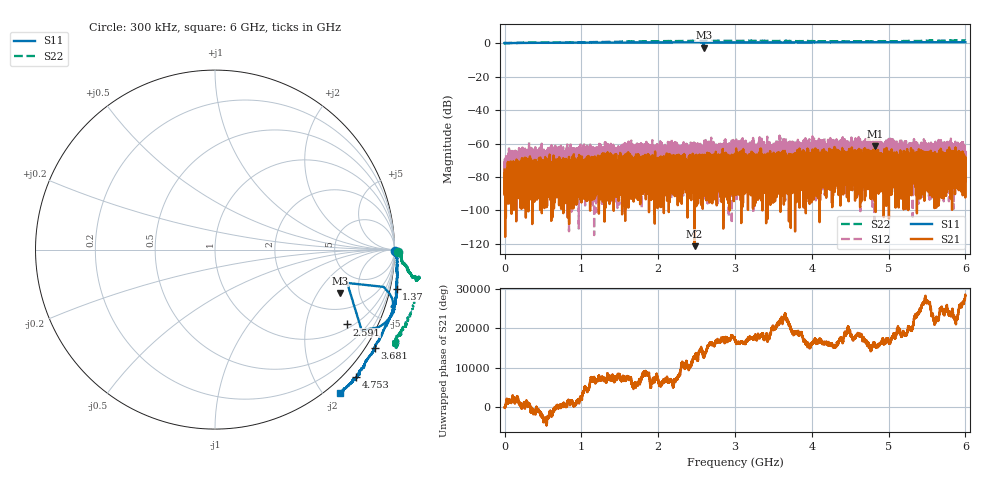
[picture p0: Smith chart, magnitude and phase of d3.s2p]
!Agilent Technologies,N5230C,SG49000117,A.08.50.07
!Agilent N5230C: A.08.50.07
!Date: Thursday, May 16, 2024 17:38:35
!Correction: S11(Full 2 Port(1,2))
!S21(Full 2 Port(1,2))
!S12(Full 2 Port(1,2))
!S22(Full 2 Port(1,2))
!S2P File: Measurements: S11, S21, S12, S22:
# Hz S  MA  R 50
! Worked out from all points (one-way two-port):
!   20001 points, 300 kHz to 6 GHz, reference 50 ohm
!   highest |S21| = -61.77 dB at 4.829 GHz (marker M1); lowest = -121.3 dB at 2.474 GHz (marker M2)
!   lowest |S11| = -2.7 dB at 2.593 GHz (marker M3), VSWR 6.57, Z = 151 - j160 ohm
!   |S11| at or under -10 dB: nowhere
!   |S22| runs from -0.3 to 1.6 dB; largest |S21 - S12| = 0.0018
!   S11 on the Smith chart (normalised r, x): 300 kHz: open; 1.37 GHz: -1.50, -9.18; 2.591 GHz: 1.17, -3.42; 3.681 GHz: -0.28, -3.51; 4.753 GHz: -0.23, -2.58; 6 GHz: -0.17, -2.18
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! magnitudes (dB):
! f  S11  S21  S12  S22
! 300 kHz  0.0  -75.5  -74.8  0.2
! 31.8 MHz  0.0  -78.8  -75.7  0.0
! 122.1 MHz  0.0  -91.1  -75.3  0.1
! 739.8 MHz  0.2  -78.6  -66.8  0.4
! 1 GHz  0.2  -78.6  -67.2  0.5
! 1.195 GHz  0.2  -73.5  -86.4  0.6
! 1.37 GHz  0.3  -78.2  -65.1  0.7
! 2 GHz  0.4  -77.7  -67.1  1.1
! 2.474 GHz  0.4  -121.3  -63.6  1.3
! 2.591 GHz  -1.5  -79.9  -70.2  1.3
! 2.593 GHz  -2.7  -74.3  -61.8  1.3
! 3 GHz  0.4  -69.9  -76.4  1.3
! 3.234 GHz  0.3  -98.9  -65.7  1.3
! 3.493 GHz  0.4  -75.0  -69.3  1.2
! 3.681 GHz  0.4  -68.2  -66.2  1.2
! 4 GHz  0.4  -80.3  -61.9  1.2
! 4.753 GHz  0.5  -65.8  -61.0  1.0
! 4.829 GHz  0.5  -61.8  -64.5  1.0
! 5 GHz  0.5  -75.2  -58.2  1.1
! 5.287 GHz  0.5  -75.5  -64.9  1.2
! 5.847 GHz  0.5  -72.7  -99.1  1.4
! 6 GHz  0.5  -74.4  -67.7  1.5
